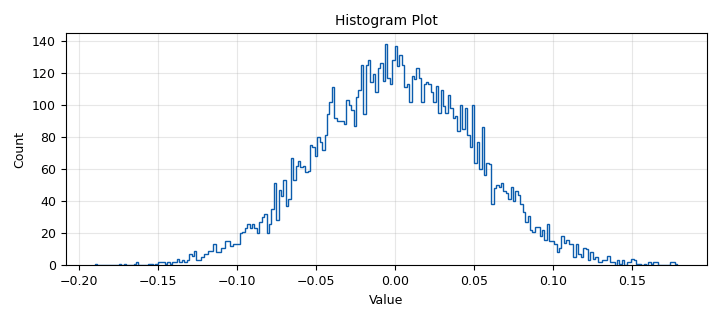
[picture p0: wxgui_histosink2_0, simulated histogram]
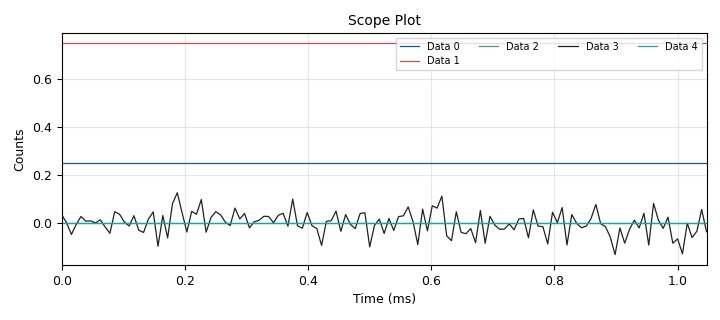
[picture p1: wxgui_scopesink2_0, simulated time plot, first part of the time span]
<?xml version='1.0' encoding='utf-8'?>
<?grc format='1' created='3.7.9'?>
<flow_graph>
<block>
<key>options</key>
<param><key>id</key><value>top_block</value></param>
<param><key>category</key><value>Custom</value></param>
<param><key>generate_options</key><value>wx_gui</value></param>
</block>
<block>
<key>variable_slider</key>
<param><key>id</key><value>hi</value></param>
<param><key>converver</key><value>float_converter</value></param>
<param><key>value</key><value>.75</value></param>
<param><key>label</key><value>High</value></param>
<param><key>max</key><value>1</value></param>
<param><key>min</key><value>0</value></param>
<param><key>num_steps</key><value>100</value></param>
<param><key>style</key><value>wx.SL_HORIZONTAL</value></param>
</block>
<block>
<key>variable_slider</key>
<param><key>id</key><value>level</value></param>
<param><key>converver</key><value>float_converter</value></param>
<param><key>value</key><value>0</value></param>
<param><key>label</key><value>Level</value></param>
<param><key>max</key><value>2</value></param>
<param><key>min</key><value>-1</value></param>
<param><key>num_steps</key><value>100</value></param>
<param><key>style</key><value>wx.SL_HORIZONTAL</value></param>
</block>
<block>
<key>variable_slider</key>
<param><key>id</key><value>lo</value></param>
<param><key>converver</key><value>float_converter</value></param>
<param><key>value</key><value>.25</value></param>
<param><key>label</key><value>Low</value></param>
<param><key>max</key><value>1</value></param>
<param><key>min</key><value>0</value></param>
<param><key>num_steps</key><value>100</value></param>
<param><key>style</key><value>wx.SL_HORIZONTAL</value></param>
</block>
<block>
<key>variable_slider</key>
<param><key>id</key><value>noise</value></param>
<param><key>converver</key><value>float_converter</value></param>
<param><key>value</key><value>.05</value></param>
<param><key>label</key><value>Noise</value></param>
<param><key>max</key><value>1</value></param>
<param><key>min</key><value>0</value></param>
<param><key>num_steps</key><value>100</value></param>
<param><key>style</key><value>wx.SL_HORIZONTAL</value></param>
</block>
<block>
<key>variable</key>
<param><key>id</key><value>samp_rate</value></param>
<param><key>value</key><value>128000</value></param>
</block>
<block>
<key>analog_const_source_x</key>
<param><key>id</key><value>analog_const_source_x_0</value></param>
<param><key>const</key><value>lo</value></param>
<param><key>type</key><value>float</value></param>
</block>
<block>
<key>analog_const_source_x</key>
<param><key>id</key><value>analog_const_source_x_0_0</value></param>
<param><key>const</key><value>hi</value></param>
<param><key>type</key><value>float</value></param>
</block>
<block>
<key>analog_const_source_x</key>
<param><key>id</key><value>analog_const_source_x_0_0_0</value></param>
<param><key>const</key><value>level</value></param>
<param><key>type</key><value>float</value></param>
</block>
<block>
<key>analog_noise_source_x</key>
<param><key>id</key><value>analog_noise_source_x_0</value></param>
<param><key>amp</key><value>noise</value></param>
<param><key>noise_type</key><value>analog.GR_GAUSSIAN</value></param>
<param><key>type</key><value>float</value></param>
<param><key>seed</key><value>42</value></param>
</block>
<block>
<key>blocks_add_xx</key>
<param><key>id</key><value>blocks_add_xx_0</value></param>
<param><key>type</key><value>float</value></param>
</block>
<block>
<key>blocks_threshold_ff</key>
<param><key>id</key><value>blocks_threshold_ff_0</value></param>
<param><key>high</key><value>hi</value></param>
<param><key>init</key><value>0</value></param>
<param><key>low</key><value>lo</value></param>
</block>
<block>
<key>blocks_throttle</key>
<param><key>id</key><value>blocks_throttle_0_1</value></param>
<param><key>_enabled</key><value>0</value></param>
<param><key>samples_per_second</key><value>samp_rate</value></param>
<param><key>type</key><value>float</value></param>
</block>
<block>
<key>blocks_throttle</key>
<param><key>id</key><value>blocks_throttle_0_1_0</value></param>
<param><key>_enabled</key><value>0</value></param>
<param><key>samples_per_second</key><value>samp_rate</value></param>
<param><key>type</key><value>float</value></param>
</block>
<block>
<key>blocks_throttle</key>
<param><key>id</key><value>blocks_throttle_0_1_1</value></param>
<param><key>_enabled</key><value>0</value></param>
<param><key>samples_per_second</key><value>samp_rate</value></param>
<param><key>type</key><value>float</value></param>
</block>
<block>
<key>blocks_throttle</key>
<param><key>id</key><value>blocks_throttle_0_1_2</value></param>
<param><key>samples_per_second</key><value>samp_rate</value></param>
<param><key>type</key><value>float</value></param>
</block>
<block>
<key>wxgui_histosink2</key>
<param><key>id</key><value>wxgui_histosink2_0</value></param>
<param><key>frame_size</key><value>10000</value></param>
<param><key>grid_pos</key><value>0,1,1,1</value></param>
<param><key>num_bins</key><value>241</value></param>
<param><key>title</key><value>Histogram Plot</value></param>
<param><key>win_size</key><value>440,320</value></param>
</block>
<block>
<key>wxgui_scopesink2</key>
<param><key>id</key><value>wxgui_scopesink2_0</value></param>
<param><key>ac_couple</key><value>False</value></param>
<param><key>grid_pos</key><value>0,0,1,1</value></param>
<param><key>num_inputs</key><value>5</value></param>
<param><key>samp_rate</key><value>samp_rate</value></param>
<param><key>t_scale</key><value>0</value></param>
<param><key>title</key><value>Scope Plot</value></param>
<param><key>trig_mode</key><value>wxgui.TRIG_MODE_AUTO</value></param>
<param><key>type</key><value>float</value></param>
<param><key>v_offset</key><value>.5</value></param>
<param><key>v_scale</key><value>.25</value></param>
<param><key>win_size</key><value>510,320</value></param>
<param><key>xy_mode</key><value>False</value></param>
<param><key>y_axis_label</key><value>Counts</value></param>
</block>
<connection><source_block_id>analog_const_source_x_0</source_block_id><sink_block_id>blocks_throttle_0_1</sink_block_id><source_key>0</source_key><sink_key>0</sink_key></connection>
<connection><source_block_id>analog_const_source_x_0</source_block_id><sink_block_id>wxgui_scopesink2_0</sink_block_id><source_key>0</source_key><sink_key>0</sink_key></connection>
<connection><source_block_id>analog_const_source_x_0_0</source_block_id><sink_block_id>blocks_throttle_0_1_0</sink_block_id><source_key>0</source_key><sink_key>0</sink_key></connection>
<connection><source_block_id>analog_const_source_x_0_0</source_block_id><sink_block_id>wxgui_scopesink2_0</sink_block_id><source_key>0</source_key><sink_key>1</sink_key></connection>
<connection><source_block_id>analog_const_source_x_0_0_0</source_block_id><sink_block_id>blocks_throttle_0_1_2</sink_block_id><source_key>0</source_key><sink_key>0</sink_key></connection>
<connection><source_block_id>analog_noise_source_x_0</source_block_id><sink_block_id>blocks_add_xx_0</sink_block_id><source_key>0</source_key><sink_key>1</sink_key></connection>
<connection><source_block_id>analog_noise_source_x_0</source_block_id><sink_block_id>blocks_throttle_0_1_1</sink_block_id><source_key>0</source_key><sink_key>0</sink_key></connection>
<connection><source_block_id>analog_noise_source_x_0</source_block_id><sink_block_id>wxgui_histosink2_0</sink_block_id><source_key>0</source_key><sink_key>0</sink_key></connection>
<connection><source_block_id>blocks_add_xx_0</source_block_id><sink_block_id>blocks_threshold_ff_0</sink_block_id><source_key>0</source_key><sink_key>0</sink_key></connection>
<connection><source_block_id>blocks_add_xx_0</source_block_id><sink_block_id>wxgui_scopesink2_0</sink_block_id><source_key>0</source_key><sink_key>3</sink_key></connection>
<connection><source_block_id>blocks_threshold_ff_0</source_block_id><sink_block_id>wxgui_scopesink2_0</sink_block_id><source_key>0</source_key><sink_key>2</sink_key></connection>
<connection><source_block_id>blocks_throttle_0_1</source_block_id><sink_block_id>wxgui_scopesink2_0</sink_block_id><source_key>0</source_key><sink_key>0</sink_key></connection>
<connection><source_block_id>blocks_throttle_0_1_0</source_block_id><sink_block_id>wxgui_scopesink2_0</sink_block_id><source_key>0</source_key><sink_key>1</sink_key></connection>
<connection><source_block_id>blocks_throttle_0_1_1</source_block_id><sink_block_id>blocks_add_xx_0</sink_block_id><source_key>0</source_key><sink_key>1</sink_key></connection>
<connection><source_block_id>blocks_throttle_0_1_1</source_block_id><sink_block_id>wxgui_histosink2_0</sink_block_id><source_key>0</source_key><sink_key>0</sink_key></connection>
<connection><source_block_id>blocks_throttle_0_1_2</source_block_id><sink_block_id>blocks_add_xx_0</sink_block_id><source_key>0</source_key><sink_key>0</sink_key></connection>
<connection><source_block_id>blocks_throttle_0_1_2</source_block_id><sink_block_id>wxgui_scopesink2_0</sink_block_id><source_key>0</source_key><sink_key>4</sink_key></connection>
</flow_graph>
